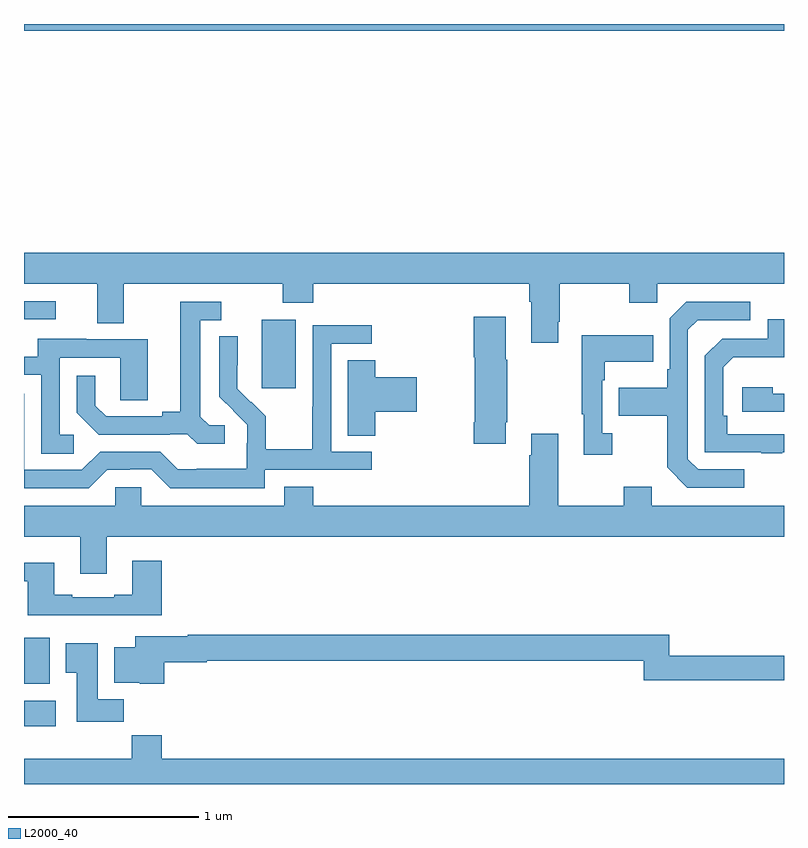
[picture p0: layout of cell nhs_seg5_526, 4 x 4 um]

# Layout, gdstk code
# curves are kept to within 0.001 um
import gdstk
lib = gdstk.Library(unit=1e-6, precision=1e-09)
def R(c, l, rs):  # rectangles x0, y0, x1, y1
    for r in rs: c.add(gdstk.rectangle(r[:2], r[2:], *l))
def P(c, l, *ps):  # polygons
    for p in ps: c.add(gdstk.Polygon(p, *l))
L2000_40 = (2000, 40)

nhs_seg5_526 = lib.new_cell('nhs_seg5_526')
R(nhs_seg5_526, L2000_40, [(145,849.104,145.168,849.238), (145,849.326,145.135,849.568), (146.252,850.881,146.431,851.242), (145,851.244,145.168,851.34), (145,852.764,149,852.799)])
P(nhs_seg5_526, L2000_40, [(145,851.432),(145.385,851.432),(145.385,851.224),(145.525,851.224),(145.525,851.432),(146.362,851.432),(146.362,851.333),(146.522,851.333),(146.522,851.432),(147.659,851.432),(147.659,851.336),(147.671,851.336),(147.671,851.121),(147.811,851.121),(147.811,851.233),(147.819,851.233),(147.819,851.432),(148.186,851.432),(148.186,851.333),(148.332,851.333),(148.332,851.432),(149,851.432),(149,851.596),(145,851.596)],
  [(146.056,850.686),(145.974,850.686),(145.927,850.733),(145.927,851.241),(146.038,851.241),(146.038,851.337),(145.823,851.337),(145.823,850.757),(145.727,850.757),(145.727,850.734),(145.432,850.734),(145.375,850.791),(145.375,850.948),(145.278,850.948),(145.278,850.754),(145.394,850.638),(145.766,850.638),(145.766,850.641),(145.86,850.641),(145.912,850.589),(146.056,850.589)],
  [(148.792,850.455),(148.548,850.455),(148.494,850.509),(148.494,851.19),(148.545,851.241),(148.822,851.241),(148.822,851.337),(148.485,851.337),(148.398,851.25),(148.398,850.981),(148.386,850.981),(148.386,850.885),(148.129,850.885),(148.129,850.738),(148.386,850.738),(148.386,850.465),(148.491,850.359),(148.792,850.359)],
  [(147.535,850.702),(147.543,850.702),(147.543,851.033),(147.535,851.033),(147.535,851.257),(147.368,851.257),(147.368,851.044),(147.373,851.044),(147.373,850.702),(147.368,850.702),(147.368,850.59),(147.535,850.59)],
  [(148.991,850.545),(149,850.545),(149,850.641),(148.7,850.641),(148.7,850.738),(148.68,850.738),(148.68,850.992),(148.733,851.045),(149,851.045),(149,851.244),(148.914,851.244),(148.914,851.142),(148.674,851.142),(148.584,851.052),(148.584,850.545),(148.879,850.545),(148.879,850.54),(148.991,850.54)],
  [(146.268,850.452),(146.83,850.452),(146.83,850.548),(146.616,850.548),(146.616,851.115),(146.83,851.115),(146.83,851.214),(146.52,851.214),(146.52,850.784),(146.518,850.784),(146.518,850.561),(146.273,850.561),(146.273,850.735),(146.196,850.812),(146.193,850.809),(146.123,850.88),(146.124,851.156),(146.028,851.156),(146.028,850.838),(146.174,850.69),(146.174,850.593),(146.172,850.593),(146.172,850.459),(145.909,850.459),(145.909,850.455),(145.809,850.455),(145.716,850.548),(145.401,850.548),(145.305,850.452),(145.002,850.452),(145.002,850.854),(145,850.854),(145,850.356),(145.341,850.356),(145.437,850.452),(145.556,850.452),(145.556,850.455),(145.671,850.455),(145.771,850.355),(146.268,850.355)],
  [(148.096,850.646),(148.044,850.646),(148.044,850.925),(148.057,850.925),(148.057,851.021),(148.313,851.021),(148.313,851.161),(147.936,851.161),(147.936,850.745),(147.947,850.745),(147.947,850.533),(148.096,850.533)],
  [(145.261,850.638),(145.188,850.638),(145.188,851.043),(145.506,851.043),(145.506,850.819),(145.651,850.819),(145.651,851.139),(145.327,851.139),(145.327,851.143),(145.073,851.143),(145.073,851.049),(145,851.049),(145,850.953),(145.092,850.953),(145.092,850.537),(145.261,850.537)],
  [(146.849,850.757),(147.067,850.757),(147.067,850.94),(146.849,850.94),(146.849,851.03),(146.705,851.03),(146.705,850.633),(146.849,850.633)],
  [(149,850.854),(148.94,850.854),(148.94,850.888),(148.779,850.888),(148.779,850.758),(149,850.758)],
  [(149,850.264),(148.303,850.264),(148.303,850.363),(148.156,850.363),(148.156,850.264),(147.811,850.264),(147.811,850.642),(147.671,850.642),(147.671,850.529),(147.659,850.529),(147.659,850.264),(146.522,850.264),(146.522,850.363),(146.369,850.363),(146.369,850.264),(145.617,850.264),(145.617,850.362),(145.479,850.362),(145.479,850.264),(145,850.264),(145,850.1),(145.295,850.1),(145.295,849.906),(145.435,849.906),(145.435,850.1),(149,850.1)],
  [(145.724,849.973),(145.571,849.973),(145.571,849.796),(145.475,849.796),(145.475,849.783),(145.255,849.783),(145.255,849.796),(145.159,849.796),(145.159,849.964),(145,849.964),(145,849.867),(145.019,849.867),(145.019,849.686),(145.724,849.686)],
  [(145.739,849.44),(145.962,849.44),(145.962,849.448),(148.261,849.448),(148.261,849.345),(149,849.345),(149,849.473),(148.397,849.473),(148.397,849.584),(145.862,849.584),(145.862,849.577),(145.586,849.577),(145.586,849.52),(145.475,849.52),(145.475,849.332),(145.608,849.332),(145.608,849.326),(145.739,849.326)],
  [(145.526,849.244),(145.387,849.244),(145.387,849.541),(145.22,849.541),(145.22,849.385),(145.277,849.385),(145.277,849.126),(145.526,849.126)],
  [(149,848.932),(145.724,848.932),(145.724,849.056),(145.567,849.056),(145.567,848.932),(145,848.932),(145,848.799),(149,848.799)])

lib.write_gds('nhs_seg5_526.gds')
